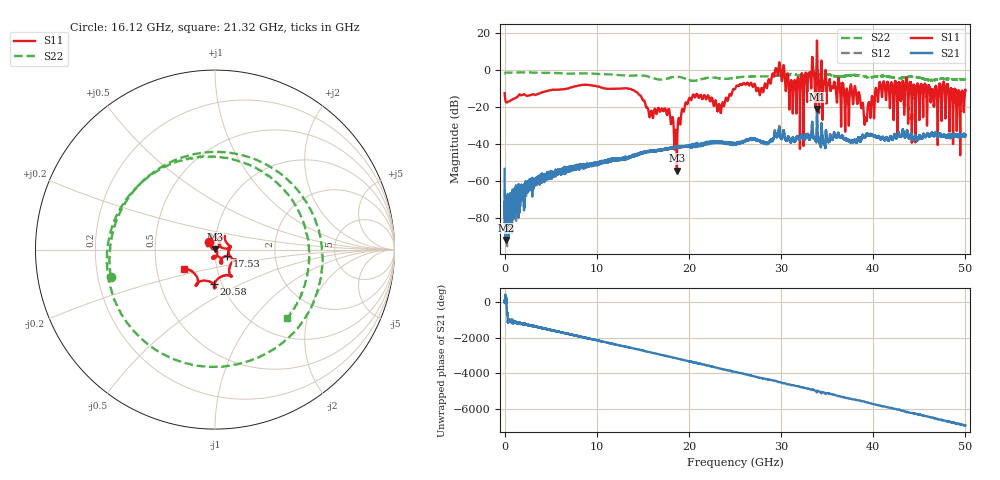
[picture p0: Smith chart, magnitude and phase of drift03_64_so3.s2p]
!Created with skrf (http://scikit-rf.org).
# Hz S RI R 50.0
!freq ReS11 ImS11 ReS21 ImS21 ReS12 ImS12 ReS22 ImS22
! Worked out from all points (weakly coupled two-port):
!   10001 points, 300 kHz to 50 GHz, reference 50 ohm
!   highest |S21| = -21.19 dB at 33.9 GHz (marker M1); lowest = -91.9 dB at 185.3 MHz (marker M2)
!   lowest |S11| = -54.4 dB at 18.7 GHz (marker M3), VSWR 1.00, Z = 50.1 + j0.177 ohm
!   |S11| at or under -10 dB: start of sweep to 6.943 GHz; 13.32 GHz to 25.04 GHz (11.73 GHz wide, 61.1 % of centre); 38.07 GHz to 40.26 GHz (2.185 GHz wide, 5.58 % of centre) (the widest 3 of 54)
!   |S22| runs from -5.9 to -1.3 dB; largest |S21 - S12| = 0.0091
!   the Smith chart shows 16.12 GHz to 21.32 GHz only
!   S11 on the Smith chart (normalised r, x): 16.12 GHz: 0.94, +0.08; 17.53 GHz: 1.14, -0.08; 20.58 GHz: 0.91, -0.37; 21.32 GHz: 0.69, -0.16
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300000  -0.2128 -0.101  -7.77e-05 0.00211  0.000147 0.000575  -0.7654 -0.1959
1.852989e8  -0.1157 0.0637  -2.29e-05 1.08e-05  -7.56e-05 -4.05e-05  -0.7902 0.3018
1.535291e9  0.2047 0.0434  -3.55e-05 -0.000353  -0.000114 -0.000446  0.8484 0.0775
3.160281e9  -0.2187 -0.00856  -5.79e-05 0.000871  0.0001 0.000918  -0.844 -0.0245
4.665272e9  0.2636 0.0612  -0.000169 -0.00169  -8.7e-06 -0.00141  0.8186 0.1422
6.360262e9  -0.3001 0.000672  0.000685 0.00186  0.000568 0.00176  -0.8044 -0.0428
8.33525e9  0.2839 -0.268  -0.00226 -0.000797  -0.00226 -0.000924  0.6017 -0.5359
1.043024e10  -0.0429 0.3325  0.00269 -0.0019  0.00247 -0.00172  -0.0366 0.7696
1.201523e10  0.00665 -0.3087  -0.00293 0.00272  -0.00295 0.00237  0.1057 -0.7294
1.61152e10  -0.0318 0.0403  0.00593 0.00213  0.00584 0.00201  -0.5804 -0.1508
1.66702e10  0.0541 0.0752  0.00445 -0.00495  0.00469 -0.00493  -0.3597 0.4174
1.752519e10  0.0673 -0.0351  -0.00628 -0.00376  -0.00589 -0.00375  0.491 0.2909
1.869519e10  0.000731 0.00177  0.00255 0.00807  0.00236 0.00793  -0.0901 -0.6482
2.058018e10  -0.00773 -0.193  -0.00794 -0.00435  -0.00841 -0.00418  0.3768 0.34
2.131517e10  -0.1715 -0.1074  -0.00508 0.00812  -0.00536 0.00795  0.3996 -0.3829
2.500015e10  -0.2971 -0.0481  0.00742 0.00646  0.00792 0.00656  -0.1882 -0.5826
3.051512e10  0.2354 -0.1274  -0.00206 0.0126  -0.00195 0.0126  0.7423 -0.0692
3.213011e10  0.2026 0.3764  -0.000658 -0.0153  -0.000697 -0.0151  -0.6945 0.00437
3.33351e10  0.4687 -1.006  -0.00497 0.0259  -0.0059 0.024  0.6157 0.3651
3.38951e10  -0.6805 -6.192  0.0865 0.0116  0.0833 0.00688  0.6825 -0.3222
4.167005e10  -0.2239 0.2776  -0.0118 -0.00416  -0.0121 -0.00451  -0.6439 -0.0559
5e10  -0.1433 -0.2453  0.00157 -0.0176  0.00119 -0.0178  0.4701 -0.3182
